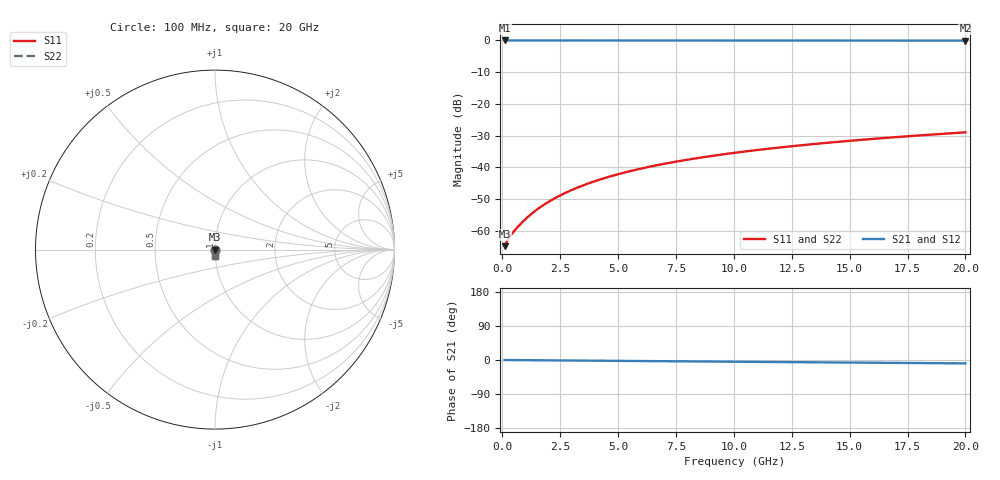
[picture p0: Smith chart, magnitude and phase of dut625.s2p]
! Touchstone file exported from HFSS 2026.1.0
!  File:  C:/ffzhzh/LocalFiles/Ansys_Project_Files/temp_train_TMRDL_625_1783009064_53980.aedt
!  Generated:  12:19:00 AM Jul  3, 2026
!  Design:  TMRDL
!  Project:  temp_train_TMRDL_625_1783009064_53980
! Variables:
!  h_bsmrdl = 2um
!  h_ox = 20um
!  h_rdl = 5um
!  h_sub = 80um
!  h_tmrdl = 5.81um
!  h_tsv = 80um
!  h_via = 3um
!  l_bsmrdl = 300um
!  l_sub = 548.91um
!  l_tmrdl = 148.91um
!  m_sub = 200um
!  pitch = 26.06um
!  r_tsv = 6um
!  s_tmrdl = 10um
!  w_bsmrdl = 18um
!  w_sub = 500um
!  w_tmrdl = 22.9um
!  x_tsv_center1 = 160.36um
!  x_tsv_center2 = 478.36um
!  x_tsv_center3 = 650.17um
!  x_tsv_center4 = 968.17um
!  x_tsv_center5 = 1139.98um
!  x_tsv_center6 = 1457.98um
# GHz S MA R 50.000000
! Terminal data exported
! Port[1] = TM_RDL1_1_T1
! Port[2] = TM_RDL1_1_T2
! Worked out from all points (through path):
!   200 points, 100 MHz to 20 GHz, reference 50 ohm
!   highest |S21| = 0.00 dB at 100 MHz (marker M1); lowest = -0.1 dB at 20 GHz (marker M2)
!   group delay of S21, straight-line fit = 1.23 ps
!   lowest |S11| = -64.8 dB at 100 MHz (marker M3), VSWR 1.00, Z = 50.1 + j0.00197 ohm
!   |S11| at or under -10 dB: start of sweep to end of sweep
!   |S22| runs from -64.8 to -29.0 dB; largest |S21 - S12| = 8.3e-15
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0.1  0.0005748 2.0  0.9994 -0.1  0.9994 -0.1  0.0005748 2.0
! Gamma 0 0 0 0
! Port Impedance 50 0 50 0
0.2  0.0006844 -3.9  0.9993 -0.1  0.9993 -0.1  0.0006844 -3.9
0.3  0.0007885 -12.5  0.9992 -0.2  0.9992 -0.2  0.0007885 -12.5
0.4  0.0008862 -20.7  0.9992 -0.2  0.9992 -0.2  0.0008862 -20.7
0.6  0.001085 -33.7  0.9991 -0.3  0.9991 -0.3  0.001085 -33.7
0.8  0.001301 -42.9  0.999 -0.4  0.999 -0.4  0.001301 -42.9
1  0.001534 -49.3  0.999 -0.5  0.999 -0.5  0.001534 -49.3
1.4  0.002039 -57.4  0.9989 -0.7  0.9989 -0.7  0.002039 -57.4
1.8  0.002586 -62.2  0.9988 -0.9  0.9988 -0.9  0.002586 -62.2
2.3  0.003317 -65.9  0.9986 -1.1  0.9986 -1.1  0.003317 -65.9
2.9  0.004249 -68.8  0.9984 -1.4  0.9984 -1.4  0.004249 -68.8
3.5  0.00523 -70.9  0.9981 -1.6  0.9981 -1.6  0.00523 -70.9
4.2  0.006418 -72.8  0.9979 -2.0  0.9979 -2.0  0.006418 -72.8
5  0.007816 -74.7  0.9976 -2.3  0.9976 -2.3  0.007816 -74.7
5.9  0.009423 -76.5  0.9973 -2.7  0.9973 -2.7  0.009423 -76.5
6.8  0.01105 -78.0  0.9971 -3.1  0.9971 -3.1  0.01105 -78.0
8.3  0.01379 -80.2  0.9967 -3.8  0.9967 -3.8  0.01379 -80.2
10.1  0.01711 -82.4  0.9962 -4.6  0.9962 -4.6  0.01711 -82.4
11.7  0.02008 -84.0  0.9959 -5.3  0.9959 -5.3  0.02008 -84.0
13.4  0.02325 -85.5  0.9955 -6.0  0.9955 -6.0  0.02325 -85.5
16.7  0.02945 -88.1  0.9948 -7.5  0.9948 -7.5  0.02945 -88.1
20  0.03567 -90.4  0.9941 -8.9  0.9941 -8.9  0.03567 -90.4
